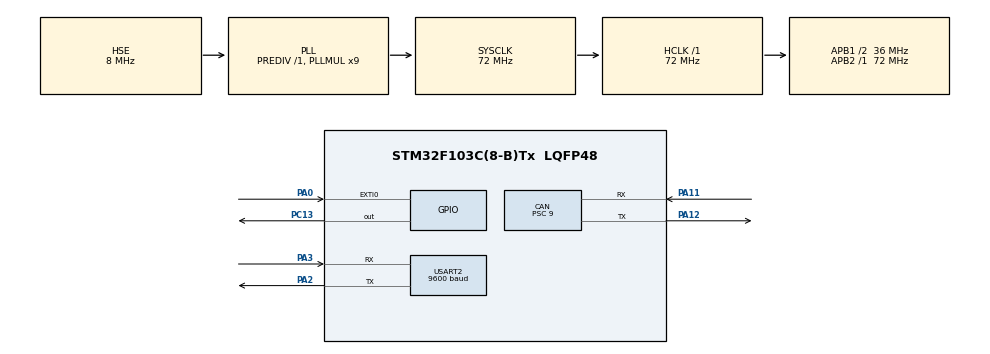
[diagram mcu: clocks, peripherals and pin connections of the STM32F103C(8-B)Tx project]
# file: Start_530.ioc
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CAN.AWUM=ENABLE
CAN.BS1=CAN_BS1_13TQ
CAN.BS2=CAN_BS2_2TQ
CAN.CalculateTimeBit=4000
CAN.CalculateTimeQuantum=250.0
CAN.NART=ENABLE
CAN.Prescaler=9
Mcu.Family=STM32F1
Mcu.Name=STM32F103C(8-B)Tx
Mcu.Package=LQFP48
NVIC.CAN1_SCE_IRQn=true\:0\:0\:false\:false\:true\:true\:true
NVIC.EXTI0_IRQn=true\:0\:0\:false\:false\:true\:true\:true
NVIC.PriorityGroup=NVIC_PRIORITYGROUP_4
NVIC.USART2_IRQn=true\:0\:0\:false\:false\:true\:true\:true
NVIC.USB_HP_CAN1_TX_IRQn=true\:0\:0\:false\:false\:true\:true\:true
NVIC.USB_LP_CAN1_RX0_IRQn=true\:0\:0\:false\:false\:true\:true\:true
PA0-WKUP.GPIO_ModeDefaultEXTI=GPIO_MODE_IT_FALLING
PA0-WKUP.GPIO_PuPd=GPIO_PULLUP
PA0-WKUP.Signal=GPXTI0
PA11.Mode=Master
PA11.Signal=CAN_RX
PA12.Mode=Master
PA12.Signal=CAN_TX
PA13.Mode=Serial_Wire
PA13.Signal=SYS_JTMS-SWDIO
PA14.Mode=Serial_Wire
PA14.Signal=SYS_JTCK-SWCLK
PA2.Mode=Asynchronous
PA2.Signal=USART2_TX
PA3.Mode=Asynchronous
PA3.Signal=USART2_RX
PC13-TAMPER-RTC.Signal=GPIO_Output
PD0-OSC_IN.Mode=HSE-External-Oscillator
PD0-OSC_IN.Signal=RCC_OSC_IN
PD1-OSC_OUT.Mode=HSE-External-Oscillator
PD1-OSC_OUT.Signal=RCC_OSC_OUT
ProjectManager.HeapSize=0x200
ProjectManager.StackSize=0x400
ProjectManager.TargetToolchain=MDK-ARM V5
RCC.AHBFreq_Value=72000000
RCC.APB1CLKDivider=RCC_HCLK_DIV2
RCC.APB1Freq_Value=36000000
RCC.APB1TimFreq_Value=72000000
RCC.APB2Freq_Value=72000000
RCC.APB2TimFreq_Value=72000000
RCC.HCLKFreq_Value=72000000
RCC.PLLMUL=RCC_PLL_MUL9
RCC.PLLSourceVirtual=RCC_PLLSOURCE_HSE
RCC.SYSCLKFreq_VALUE=72000000
RCC.SYSCLKSource=RCC_SYSCLKSOURCE_PLLCLK
RCC.USBFreq_Value=72000000
USART2.BaudRate=9600
USART2.VirtualMode=VM_ASYNC
board=custom

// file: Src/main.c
/* USER CODE BEGIN Header */
/**
  ******************************************************************************
  * @file           : main.c
  * @brief          : Main program body
  ******************************************************************************
  * @attention
  *
  * <h2><center>&copy; Copyright (c) 2020 STMicroelectronics.
  * All rights reserved.</center></h2>
  *
  * This software component is licensed by ST under BSD 3-Clause license,
  * the "License"; You may not use this file except in compliance with the
  * License. You may obtain a copy of the License at:
  *                        opensource.org/licenses/BSD-3-Clause
  *
  ******************************************************************************
  */
/* USER CODE END Header */

#include "main.h"

/* USER CODE BEGIN Includes */
#include "string.h"
#include "stdio.h"
/* USER CODE END Includes */

/* USER CODE BEGIN PD */
#define SHAKE_TRES  5	//amount of shaking IRQ's to wake up from DROWSE
/* USER CODE END PD */

CAN_HandleTypeDef hcan;

UART_HandleTypeDef huart2;

/* USER CODE BEGIN PV */
CAN_TxHeaderTypeDef TxHeader;
CAN_RxHeaderTypeDef RxHeader;
CAN_FilterTypeDef canFilterConfig;

BtModuleTypeDef bt;
uint8_t len = 6;
//BtTxMsgTypeDef TxMes;
BtRxMsgTypeDef RxMes;

uint8_t tx_buf[4] = {0x01, 0xDF, 0xC5, 0xD1};
uint8_t rx_buf[8] = {0};
uint8_t rx_buf_FMI[8][8] = {0};
//uint8_t flag = 0;
uint32_t freq_a, freq_b;
uint32_t TxMailbox;
HAL_StatusTypeDef TxStatus;
uint16_t uSendLimit;
uint16_t can_rx_counter = 0;
uint32_t can_sleep = 0;

volatile uint8_t shake_int = 0;
typedef enum {
    Sleep = 0x00, //
		toSleep = 0x01,
		Wake = 0x02,
    toWake = 0x03,  //
		Unknown = 0x04
} POWER_STATE;
POWER_STATE pwr_state = Wake;
uint32_t freq_a, freq_b, sysclock, pclk1, pclk2;
RCC_OscInitTypeDef ocs_struct;
typedef struct
{
	uint16_t can_rx;
	uint16_t can_rx_insec;
	uint8_t wakeup;
	uint16_t can_error;
}counter_t;
counter_t counter;
typedef struct
{
	uint8_t can_rx;
}FlagTypeDef;
FlagTypeDef flag;

MMSCommandsTypeDef mms;

RingBufTypeDef ringBuf_btCommands;
uint8_t cycleBuf_count = 0;	//dbg

/* USER CODE END PV */

void SystemClock_Config(void);
static void MX_GPIO_Init(void);
static void MX_CAN_Init(void);
static void MX_USART2_UART_Init(void);
/* USER CODE BEGIN PFP */
void can_user_settings(void);
void HAL_GPIO_EXTI_Callback(uint16_t GPIO_Pin);
void HAL_CAN_RxFIFO0MsgPendingCallback(CAN_HandleTypeDef* hcan);
void HAL_CAN_WakeUpFromRxMsgCallback(CAN_HandleTypeDef *hcan);
void HAL_CAN_ErrorCallback(CAN_HandleTypeDef *hcan);

void HAL_GPIO_EXTI_Callback(uint16_t GPIO_Pin)
{
	if(GPIO_Pin== GPIO_PIN_0)
	{
		//HAL_GPIO_TogglePin(GPIOC, GPIO_PIN_13);
		if (shake_int < SHAKE_TRES) {	shake_int++;}
		else
		{
			shake_int = 0;
			if (pwr_state == Sleep) 		{pwr_state = toWake;}
			else if (pwr_state == Wake)	{pwr_state = toSleep;}
		}
	}
}
void HAL_CAN_RxFIFO0MsgPendingCallback(CAN_HandleTypeDef* hcan)
{
	if (HAL_CAN_GetRxMessage(hcan, CAN_RX_FIFO0, &RxHeader, rx_buf) != HAL_OK)
	{
		//HAL_GPIO_TogglePin(GPIOC, GPIO_PIN_13);
	}
	HAL_GPIO_TogglePin(GPIOC, GPIO_PIN_13);
	for (uint8_t i = 0; i < RxHeader.DLC; i++)
	{
		rx_buf_FMI[RxHeader.FilterMatchIndex][i] = rx_buf[i];
	}
	counter.can_rx++;
	mms.Source = ((rx_buf[1]&0x01)<<1) + ((rx_buf[0]&0x80)>>7);
	mms.BtnCallAnsw = (rx_buf[1]&0x02)>>1;
	mms.BtnCallRej = 	(rx_buf[1]&0x04)>>2;
	mms.BtnPrev = 		(rx_buf[0]&0x40)>>6;
	mms.BtnNext = 		(rx_buf[0]&0x20)>>5;
	mms.BtnMuteOff = 	(rx_buf[0]&0x10)>>4;
	mms.BtnMuteOn = 	(rx_buf[0]&0x08)>>3;
	mms.BtnMuteTgl = 	(rx_buf[0]&0x04)>>2;
	mms.BtnVolMinus = (rx_buf[0]&0x02)>>1;
	mms.BtnVolPlus = 	(rx_buf[0]&0x01);
	flag.can_rx = 1;
}
void HAL_CAN_WakeUpFromRxMsgCallback(CAN_HandleTypeDef *hcan)
{
	counter.wakeup++;
	HAL_CAN_WakeUp(hcan);
	can_sleep = HAL_CAN_IsSleepActive(hcan);	//don*t wakeup without this status request
}
/*void HAL_CAN_TxCpltCallback(CAN_HandleTypeDef* hcan)
{
	HAL_GPIO_TogglePin(GPIOC, GPIO_PIN_13);
}*/
void HAL_CAN_ErrorCallback(CAN_HandleTypeDef *hcan)
{
	HAL_GPIO_TogglePin(GPIOC, GPIO_PIN_13);
	//HAL_PWR_DisableSleepOnExit();
	HAL_CAN_GetError(hcan);
	HAL_CAN_ResetError(hcan);
	counter.can_error++;
}
void HAL_UART_RxCpltCallback(UART_HandleTypeDef *huart)
{
		HAL_UART_Receive_IT(&huart2, RxMes.short_resp, len);
}
void HAL_UART_TxCpltCallback(UART_HandleTypeDef *huart)
{

}
void HAL_UART_ErrorCallback(UART_HandleTypeDef *huart)
{

}
void canToUartCommands(MMSCommandsTypeDef* mms_t)
{
		if (mms_t->Source == 0x02)	//BT is on
		{
			RING_Put(toOn, &ringBuf_btCommands);
		}
		else
		{
			RING_Put(toOff, &ringBuf_btCommands);
		}
		if (mms_t->BtnCallAnsw)
		{
			mms_t->BtnCallAnsw = 0;
			RING_Put(toAnswCall, &ringBuf_btCommands);
		}
		if(mms_t->BtnCallRej)
		{
			mms_t->BtnCallRej = 0;
			RING_Put(toRefCall, &ringBuf_btCommands);
		}
		if (mms_t->BtnPrev)
		{
			mms_t->BtnPrev = 0;
			RING_Put(toRedial/*временно*/, &ringBuf_btCommands);
		}
		if (mms_t->BtnNext)
		{
			mms_t->BtnNext = 0;
			RING_Put(toHgUp/*временно*/, &ringBuf_btCommands);
		}
		if (mms_t->BtnMuteTgl)
		{
			mms_t->BtnMuteTgl = 0;
			static uint8_t trig = 1;
			if (trig^=1)	{mms_t->BtnMuteOff = 1;}
			else					{mms_t->BtnMuteOn = 1;}
		}
		if (mms_t->BtnMuteOff)
		{
			mms_t->BtnMuteOff = 0;
			RING_Put(toNop/*временно*/, &ringBuf_btCommands);
		}
		if (mms_t->BtnMuteOn)
		{
			mms_t->BtnMuteOn = 0;
			RING_Put(toNop/*временно*/, &ringBuf_btCommands);
		}
		if (mms_t->BtnVolMinus)
		{
			mms_t->BtnVolMinus = 0;
			RING_Put(toVolDn, &ringBuf_btCommands);
		}
		if (mms_t->BtnVolPlus)
		{
			mms_t->BtnVolPlus = 0;
			RING_Put(toVolUp, &ringBuf_btCommands);
		}
	/*}
	else if (mms_t->Source == 0x03)	//FM is on
	{

	}*/
}
/* USER CODE END PFP */

/* USER CODE BEGIN 0 */
void can_user_settings(void)
{
	canFilterConfig.FilterBank = 0;	/*!< Specifies the filter which will be initialized.
                                       This parameter must be a number between Min_Data = 0 and Max_Data = 13. */
  canFilterConfig.FilterMode = CAN_FILTERMODE_IDMASK;	//CAN_FILTERMODE_IDLIST or CAN_FILTERMODE_IDMASK
  canFilterConfig.FilterScale = CAN_FILTERSCALE_32BIT;	//CAN_FILTERSCALE_16BIT or CAN_FILTERSCALE_32BIT
  canFilterConfig.FilterIdHigh = 0x04CE << 5;	// идентификатор №1
  canFilterConfig.FilterIdLow = 0x0000;	// идентификатор №2
  canFilterConfig.FilterMaskIdHigh = 0x07FF << 5;	// идентификатор №3
  canFilterConfig.FilterMaskIdLow = 0x0000;	// идентификатор №4
  canFilterConfig.FilterFIFOAssignment = CAN_FILTER_FIFO0;
  canFilterConfig.FilterActivation = ENABLE;
  /*canFilterConfig.BankNumber = 0;*/	/*!< Select the start slave bank filter
                                       This parameter must be a number between Min_Data = 0 and Max_Data = 28. */
	HAL_CAN_ConfigFilter(&hcan, &canFilterConfig);

	HAL_CAN_ActivateNotification(&hcan, CAN_IT_RX_FIFO0_MSG_PENDING|CAN_IT_ERROR_WARNING|CAN_IT_ERROR_PASSIVE|CAN_IT_BUSOFF|CAN_IT_LAST_ERROR_CODE|CAN_IT_ERROR);
	HAL_CAN_RegisterCallback(&hcan, HAL_CAN_RX_FIFO0_MSG_PENDING_CB_ID, HAL_CAN_RxFIFO0MsgPendingCallback);

	HAL_CAN_ActivateNotification(&hcan,CAN_IT_WAKEUP);
	HAL_CAN_RegisterCallback(&hcan, HAL_CAN_WAKEUP_FROM_RX_MSG_CB_ID, HAL_CAN_WakeUpFromRxMsgCallback);

	TxHeader.StdId = 0x0532;             //
	TxHeader.ExtId = 0x00;                          //
	TxHeader.IDE = CAN_ID_STD ;                 //
	TxHeader.RTR = CAN_RTR_DATA;                    //
	TxHeader.DLC = 8;
}
/* USER CODE END 0 */

int main(void)
{
  /* USER CODE BEGIN 1 */

	mms.p[0] = &mms.Source;
	mms.p[1] = &mms.BtnPrev;
	mms.p[2] = &mms.BtnNext;
	mms.p[3] = &mms.BtnMuteOff;
	mms.p[4] = &mms.BtnMuteOn;
	mms.p[5] = &mms.BtnMuteTgl;
	mms.p[6] = &mms.BtnVolMinus;
	mms.p[7] = &mms.BtnVolPlus;
	mms.p[8] = &mms.BtnCallAnsw;
	mms.p[9] = &mms.BtnCallRej;
  /* USER CODE END 1 */

  /* MCU Configuration--------------------------------------------------------*/

  /* Reset of all peripherals, Initializes the Flash interface and the Systick. */
  HAL_Init();

  /* Configure the system clock */
  SystemClock_Config();

  /* Initialize all configured peripherals */
  MX_GPIO_Init();
  MX_CAN_Init();
  MX_USART2_UART_Init();
  /* USER CODE BEGIN 2 */
	HAL_UART_Receive_IT(&huart2, RxMes.short_resp, len);
	can_user_settings();
	HAL_CAN_Start(&hcan);
	HAL_DBGMCU_EnableDBGSleepMode();	//DBGMCU->CR |= DBGMCU_CR_DBG_SLEEP;
	//HAL_DBGMCU_EnableDBGStopMode();
  /* USER CODE END 2 */

  /* Infinite loop */
  /* USER CODE BEGIN WHILE */
	freq_a = HAL_RCC_GetHCLKFreq();
  while (1)
  {
		if (flag.can_rx)
		{
			flag.can_rx = 0;
			canToUartCommands(&mms);
		}
		if (HAL_GetTick() - bt.ticks > 100)
		{
			bt.ticks = HAL_GetTick();
			cycleBuf_count = RING_GetCount(&ringBuf_btCommands);
			if (cycleBuf_count)
			{
				bt.command = RING_Pop(&ringBuf_btCommands);
				HAL_UART_Transmit(&huart2, (uint8_t*)&bt_commands[bt.command][0], strlen(&bt_commands[bt.command][0]), 100);
				bt.command = toNop;
			}
		}
		if (pwr_state == toSleep)
		{
			//HAL_CAN_RequestSleep(&hcan);
			pwr_state = Sleep;

			HAL_GPIO_WritePin(GPIOC, GPIO_PIN_13, GPIO_PIN_SET);
			/* Suspend Tick increment to prevent wakeup by Systick interrupt.
     Otherwise the Systick interrupt will wake up the device within 1ms (HAL time base) */
			HAL_SuspendTick();
			__HAL_RCC_PWR_CLK_ENABLE();
			//@arg PWR_MAINREGULATOR_ON: Stop mode with regulator ON
			//@arg PWR_LOWPOWERREGULATOR_ON: Stop mode with low power regulator ON
			//HAL_PWR_EnterSTOPMode(PWR_LOWPOWERREGULATOR_ON, PWR_STOPENTRY_WFI);
			HAL_PWR_EnterSLEEPMode(0, PWR_SLEEPENTRY_WFI); //__WFI();
			HAL_NVIC_DisableIRQ(EXTI0_IRQn);
			HAL_ResumeTick();
			//-HAL_GPIO_TogglePin(GPIOC, GPIO_PIN_13);
			freq_a = HAL_RCC_GetHCLKFreq();
			//SystemClock_Config();
			freq_b = HAL_RCC_GetHCLKFreq();
			pwr_state = Wake;
		}

		HAL_GPIO_TogglePin(GPIOC, GPIO_PIN_13);
		//freq_b = HAL_RCC_GetHCLKFreq();
		sysclock = HAL_RCC_GetSysClockFreq();
		pclk1 = HAL_RCC_GetPCLK1Freq();
    pclk2 = HAL_RCC_GetPCLK2Freq();
		HAL_RCC_GetOscConfig(&ocs_struct);
		HAL_Delay(500);
		HAL_NVIC_EnableIRQ(EXTI0_IRQn);
		HAL_GPIO_TogglePin(GPIOC, GPIO_PIN_13);
		can_sleep = HAL_CAN_IsSleepActive(&hcan);
		if (!can_sleep)
		{
			if (HAL_CAN_GetTxMailboxesFreeLevel(&hcan) != 0)
			{
				uSendLimit = 0xFF;
				do
				{
					TxStatus = HAL_CAN_AddTxMessage(&hcan, &TxHeader, tx_buf, &TxMailbox);
				}
				while (TxStatus != HAL_OK && uSendLimit--);
				tx_buf[0]++;
			}
		}
		HAL_Delay(500);
		counter.can_rx_insec = counter.can_rx;
		counter.can_rx = 0;
    /* USER CODE END WHILE */

  }
}

void SystemClock_Config(void)
{
  RCC_OscInitTypeDef RCC_OscInitStruct = {0};
  RCC_ClkInitTypeDef RCC_ClkInitStruct = {0};

  /** Initializes the CPU, AHB and APB busses clocks
  */
  RCC_OscInitStruct.OscillatorType = RCC_OSCILLATORTYPE_HSE;
  RCC_OscInitStruct.HSEState = RCC_HSE_ON;
  RCC_OscInitStruct.HSEPredivValue = RCC_HSE_PREDIV_DIV1;
  RCC_OscInitStruct.HSIState = RCC_HSI_ON;
  RCC_OscInitStruct.PLL.PLLState = RCC_PLL_ON;
  RCC_OscInitStruct.PLL.PLLSource = RCC_PLLSOURCE_HSE;
  RCC_OscInitStruct.PLL.PLLMUL = RCC_PLL_MUL9;
  if (HAL_RCC_OscConfig(&RCC_OscInitStruct) != HAL_OK)
  {
    Error_Handler();
  }
  /** Initializes the CPU, AHB and APB busses clocks
  */
  RCC_ClkInitStruct.ClockType = RCC_CLOCKTYPE_HCLK|RCC_CLOCKTYPE_SYSCLK
                              |RCC_CLOCKTYPE_PCLK1|RCC_CLOCKTYPE_PCLK2;
  RCC_ClkInitStruct.SYSCLKSource = RCC_SYSCLKSOURCE_PLLCLK;
  RCC_ClkInitStruct.AHBCLKDivider = RCC_SYSCLK_DIV1;
  RCC_ClkInitStruct.APB1CLKDivider = RCC_HCLK_DIV2;
  RCC_ClkInitStruct.APB2CLKDivider = RCC_HCLK_DIV1;

  if (HAL_RCC_ClockConfig(&RCC_ClkInitStruct, FLASH_LATENCY_2) != HAL_OK)
  {
    Error_Handler();
  }
}

static void MX_CAN_Init(void)
{

  hcan.Instance = CAN1;
  hcan.Init.Prescaler = 9;
  hcan.Init.Mode = CAN_MODE_NORMAL;
  hcan.Init.SyncJumpWidth = CAN_SJW_1TQ;
  hcan.Init.TimeSeg1 = CAN_BS1_13TQ;
  hcan.Init.TimeSeg2 = CAN_BS2_2TQ;
  hcan.Init.TimeTriggeredMode = DISABLE;
  hcan.Init.AutoBusOff = DISABLE;
  hcan.Init.AutoWakeUp = ENABLE;
  hcan.Init.AutoRetransmission = ENABLE;
  hcan.Init.ReceiveFifoLocked = DISABLE;
  hcan.Init.TransmitFifoPriority = DISABLE;
  if (HAL_CAN_Init(&hcan) != HAL_OK)
  {
    Error_Handler();
  }

}

static void MX_USART2_UART_Init(void)
{

  huart2.Instance = USART2;
  huart2.Init.BaudRate = 9600;
  huart2.Init.WordLength = UART_WORDLENGTH_8B;
  huart2.Init.StopBits = UART_STOPBITS_1;
  huart2.Init.Parity = UART_PARITY_NONE;
  huart2.Init.Mode = UART_MODE_TX_RX;
  huart2.Init.HwFlowCtl = UART_HWCONTROL_NONE;
  huart2.Init.OverSampling = UART_OVERSAMPLING_16;
  if (HAL_UART_Init(&huart2) != HAL_OK)
  {
    Error_Handler();
  }

}

static void MX_GPIO_Init(void)
{
  GPIO_InitTypeDef GPIO_InitStruct = {0};

  /* GPIO Ports Clock Enable */
  __HAL_RCC_GPIOC_CLK_ENABLE();
  __HAL_RCC_GPIOD_CLK_ENABLE();
  __HAL_RCC_GPIOA_CLK_ENABLE();
  __HAL_RCC_GPIOB_CLK_ENABLE();

  /*Configure GPIO pin Output Level */
  HAL_GPIO_WritePin(GPIOC, GPIO_PIN_13, GPIO_PIN_RESET);

  /*Configure GPIO pin : PC13 */
  GPIO_InitStruct.Pin = GPIO_PIN_13;
  GPIO_InitStruct.Mode = GPIO_MODE_OUTPUT_PP;
  GPIO_InitStruct.Pull = GPIO_NOPULL;
  GPIO_InitStruct.Speed = GPIO_SPEED_FREQ_LOW;
  HAL_GPIO_Init(GPIOC, &GPIO_InitStruct);

  /*Configure GPIO pins : PC14 PC15 */
  GPIO_InitStruct.Pin = GPIO_PIN_14|GPIO_PIN_15;
  GPIO_InitStruct.Mode = GPIO_MODE_ANALOG;
  HAL_GPIO_Init(GPIOC, &GPIO_InitStruct);

  /*Configure GPIO pin : PA0 */
  GPIO_InitStruct.Pin = GPIO_PIN_0;
  GPIO_InitStruct.Mode = GPIO_MODE_IT_FALLING;
  GPIO_InitStruct.Pull = GPIO_PULLUP;
  HAL_GPIO_Init(GPIOA, &GPIO_InitStruct);

  /*Configure GPIO pins : PA1 PA4 PA5 PA6
                           PA7 PA8 PA9 PA10
                           PA15 */
  GPIO_InitStruct.Pin = GPIO_PIN_1|GPIO_PIN_4|GPIO_PIN_5|GPIO_PIN_6
                          |GPIO_PIN_7|GPIO_PIN_8|GPIO_PIN_9|GPIO_PIN_10
                          |GPIO_PIN_15;
  GPIO_InitStruct.Mode = GPIO_MODE_ANALOG;
  HAL_GPIO_Init(GPIOA, &GPIO_InitStruct);

  /*Configure GPIO pins : PB0 PB1 PB2 PB10
                           PB11 PB12 PB13 PB14
                           PB15 PB3 PB4 PB5
                           PB6 PB7 PB8 PB9 */
  GPIO_InitStruct.Pin = GPIO_PIN_0|GPIO_PIN_1|GPIO_PIN_2|GPIO_PIN_10
                          |GPIO_PIN_11|GPIO_PIN_12|GPIO_PIN_13|GPIO_PIN_14
                          |GPIO_PIN_15|GPIO_PIN_3|GPIO_PIN_4|GPIO_PIN_5
                          |GPIO_PIN_6|GPIO_PIN_7|GPIO_PIN_8|GPIO_PIN_9;
  GPIO_InitStruct.Mode = GPIO_MODE_ANALOG;
  HAL_GPIO_Init(GPIOB, &GPIO_InitStruct);

  /* EXTI interrupt init*/
  HAL_NVIC_SetPriority(EXTI0_IRQn, 0, 0);
  HAL_NVIC_EnableIRQ(EXTI0_IRQn);

}

/* USER CODE BEGIN 4 */
void RING_Put(BtCommandTypeDef command, RingBufTypeDef* buf)
{
		buf->buffer[buf->idxIn++]= command;
    if (buf->idxIn >= CYCLE_BUF_SIZE_x) buf->idxIn = 0;
}
BtCommandTypeDef RING_Pop(RingBufTypeDef* buf)
{
	BtCommandTypeDef retval = buf->buffer[buf->idxOut++];
	if (buf->idxOut >= CYCLE_BUF_SIZE_x) buf->idxOut = 0;
	return retval;
}
uint8_t RING_GetCount(RingBufTypeDef* buf)
{
    uint8_t retval = 0;
    if (buf->idxIn < buf->idxOut) retval = CYCLE_BUF_SIZE_x + buf->idxIn - buf->idxOut;
    else retval = buf->idxIn - buf->idxOut;
    return retval;
}
void RING_Clear(RingBufTypeDef* buf)
{
    buf->idxIn = 0;
    buf->idxOut = 0;
}/*
void RING_Init(RingBufTypeDef* buf)
{
    buf->size = size;
    buf->buffer = test_array[][];//(uint8_t*) malloc(size);
    RING_Clear(buf);
}*/
/* USER CODE END 4 */

void Error_Handler(void)
{
}

/************************ (C) COPYRIGHT STMicroelectronics *****END OF FILE****/
